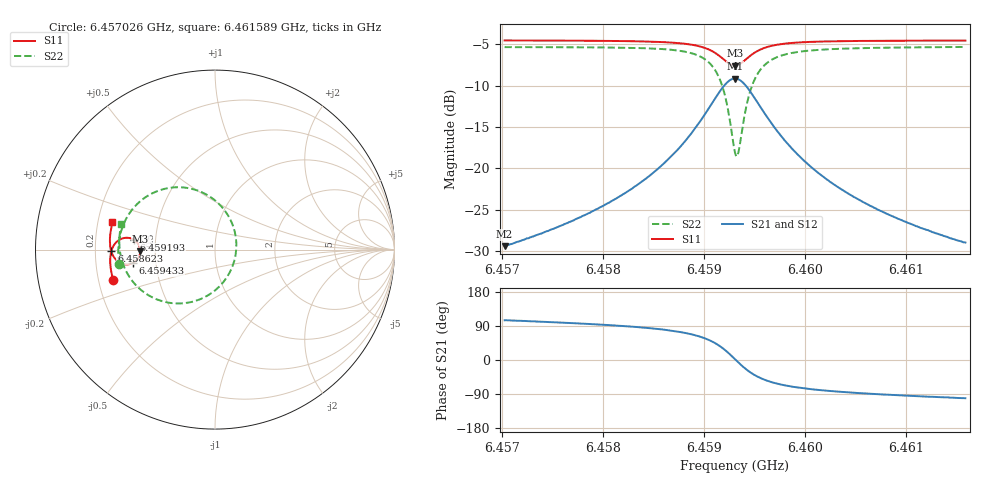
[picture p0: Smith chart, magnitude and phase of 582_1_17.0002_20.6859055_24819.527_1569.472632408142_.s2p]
#  HZ  S  RI  R  50.00
! Rohde & Schwarz Vector Network Analyzer
! Rohde-Schwarz,ZNB20-2Port,1311601062101988,3.16
! Created: UTC 3/20/2024, 11:18:09 PM
! freq[Hz]  re:S11  im:S11  re:S21  im:S21  re:S12  im:S12  re:S22  im:S22
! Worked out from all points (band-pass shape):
!   401 points, 6.457026 GHz to 6.461589 GHz, reference 50 ohm
!   highest |S21| = -9.15 dB at 6.459307 GHz (marker M1); lowest = -29.4 dB at 6.457026 GHz (marker M2)
!   |S21| within 3 dB of the highest: 6.459079 GHz to 6.459536 GHz (456.4 kHz wide, 0.00707 % of centre)
!   lowest |S11| = -7.6 dB at 6.459307 GHz (marker M3), VSWR 2.43, Z = 20.6 - j0.427 ohm
!   |S11| at or under -10 dB: nowhere
!   |S22| runs from -18.5 to -5.3 dB; largest |S21 - S12| = 0.014
!   S11 on the Smith chart (normalised r, x): 6.457026 GHz: 0.26, -0.14; 6.458623 GHz: 0.27, -0.01; 6.459193 GHz: 0.37, +0.05; 6.459433 GHz: 0.37, -0.07; 6.461589 GHz: 0.26, +0.12
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6.4570262e9  -0.5677 -0.1684  -0.00866 0.0327  -0.00694 0.0327  -0.5338 -0.0803
6.4577904e9  -0.5813 -0.1014  -0.00527 0.051  -0.00283 0.0502  -0.5383 0.00992
6.4582124e9  -0.5837 -0.059  0.000701 0.0705  0.00406 0.0691  -0.5296 0.0773
6.4585546e9  -0.5798 -0.0178  0.0148 0.0995  0.0188 0.0967  -0.5035 0.1552
6.4586231e9  -0.5775 -0.00819  0.0203 0.1081  0.0244 0.1048  -0.4933 0.1752
6.458817e9  -0.5646 0.0222  0.0472 0.139  0.0512 0.134  -0.4426 0.2447
6.4589653e9  -0.5417 0.0484  0.0931 0.1696  0.0962 0.1629  -0.3579 0.3092
6.4591022e9  -0.4976 0.0658  0.181 0.1859  0.182 0.1785  -0.1971 0.3474
6.4591934e9  -0.4526 0.0552  0.2715 0.1541  0.2718 0.1482  -0.0293 0.2956
6.4592618e9  -0.4234 0.0227  0.3324 0.0814  0.3345 0.076  0.0869 0.1643
6.4593075e9  -0.4166 -0.00858  0.3486 0.0129  0.3524 0.00573  0.119 0.0357
6.4593189e9  -0.417 -0.0167  0.3485 -0.00515  0.3523 -0.0128  0.1184 0.00176
6.4593417e9  -0.4207 -0.0325  0.3426 -0.04  0.3465 -0.0494  0.107 -0.0647
6.4593873e9  -0.4365 -0.0588  0.3136 -0.1004  0.3158 -0.1126  0.0481 -0.1791
6.4594329e9  -0.4587 -0.0752  0.2709 -0.1418  0.2701 -0.1552  -0.0384 -0.2543
6.4595242e9  -0.5024 -0.082  0.1852 -0.1728  0.1789 -0.1846  -0.2094 -0.3002
6.4596725e9  -0.5465 -0.0614  0.0965 -0.1586  0.0879 -0.1648  -0.3787 -0.2494
6.4598322e9  -0.5682 -0.0337  0.0513 -0.13  0.0437 -0.1329  -0.4594 -0.1763
6.4600717e9  -0.5809 0.00184  0.0221 -0.0981  0.0163 -0.0987  -0.5075 -0.093
6.4604139e9  -0.5855 0.0428  0.00611 -0.0709  0.00204 -0.0706  -0.5289 -0.0134
6.460836e9  -0.5834 0.0853  -0.00165 -0.0522  -0.00449 -0.0515  -0.5328 0.0549
6.4615888e9  -0.5712 0.1522  -0.00673 -0.035  -0.00843 -0.0339  -0.5213 0.1445
